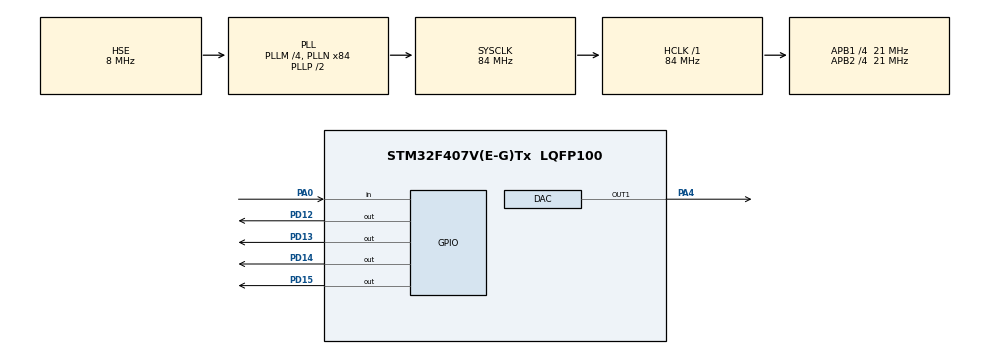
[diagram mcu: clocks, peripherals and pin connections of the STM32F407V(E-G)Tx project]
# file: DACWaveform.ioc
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DAC.DAC_Trigger=DAC_TRIGGER_T2_TRGO
Dma.DAC1.0.Direction=DMA_MEMORY_TO_PERIPH
Dma.DAC1.0.FIFOMode=DMA_FIFOMODE_DISABLE
Dma.DAC1.0.Instance=DMA1_Stream5
Dma.DAC1.0.MemDataAlignment=DMA_MDATAALIGN_WORD
Dma.DAC1.0.MemInc=DMA_MINC_ENABLE
Dma.DAC1.0.Mode=DMA_CIRCULAR
Dma.DAC1.0.PeriphDataAlignment=DMA_PDATAALIGN_WORD
Dma.DAC1.0.PeriphInc=DMA_PINC_DISABLE
Dma.DAC1.0.Priority=DMA_PRIORITY_LOW
Dma.Request0=DAC1
Mcu.Family=STM32F4
Mcu.Name=STM32F407V(E-G)Tx
Mcu.Package=LQFP100
NVIC.DMA1_Stream5_IRQn=true\:0\:0\:false\:false\:true\:false\:true
NVIC.PriorityGroup=NVIC_PRIORITYGROUP_4
NVIC.TIM2_IRQn=true\:0\:0\:false\:false\:true\:true\:true
PA0-WKUP.Signal=GPIO_Input
PA4.Signal=COMP_DAC1_group
PD12.Signal=GPIO_Output
PD13.Signal=GPIO_Output
PD14.Signal=GPIO_Output
PD15.Signal=GPIO_Output
PH0-OSC_IN.Mode=HSE-External-Oscillator
PH0-OSC_IN.Signal=RCC_OSC_IN
PH1-OSC_OUT.Mode=HSE-External-Oscillator
PH1-OSC_OUT.Signal=RCC_OSC_OUT
ProjectManager.HeapSize=0x200
ProjectManager.StackSize=0x400
ProjectManager.TargetToolchain=STM32CubeIDE
RCC.48MHZClocksFreq_Value=42000000
RCC.AHBFreq_Value=84000000
RCC.APB1CLKDivider=RCC_HCLK_DIV4
RCC.APB1Freq_Value=21000000
RCC.APB1TimFreq_Value=42000000
RCC.APB2CLKDivider=RCC_HCLK_DIV4
RCC.APB2Freq_Value=21000000
RCC.APB2TimFreq_Value=42000000
RCC.CortexFreq_Value=84000000
RCC.HCLKFreq_Value=84000000
RCC.HSE_VALUE=8000000
RCC.HSI_VALUE=16000000
RCC.LSE_VALUE=32768
RCC.PLLM=4
RCC.PLLN=84
RCC.PLLSourceVirtual=RCC_PLLSOURCE_HSE
RCC.SYSCLKFreq_VALUE=84000000
RCC.SYSCLKSource=RCC_SYSCLKSOURCE_PLLCLK
RCC.VCOOutputFreq_Value=168000000
SH.COMP_DAC1_group.0=DAC_OUT1,DAC_OUT1
TIM2.Period=100-1
TIM2.Prescaler=42-1
TIM2.TIM_MasterOutputTrigger=TIM_TRGO_UPDATE
VP_TIM2_VS_ClockSourceINT.Mode=Internal
board=custom

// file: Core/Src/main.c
/* USER CODE BEGIN Header */
/**
  ******************************************************************************
  * @file           : main.c
  * @brief          : Main program body
  ******************************************************************************
  * @attention
  *
  * <h2><center>&copy; Copyright (c) 2021 STMicroelectronics.
  * All rights reserved.</center></h2>
  *
  * This software component is licensed by ST under BSD 3-Clause license,
  * the "License"; You may not use this file except in compliance with the
  * License. You may obtain a copy of the License at:
  *                        opensource.org/licenses/BSD-3-Clause
  *
  ******************************************************************************
  */
/* USER CODE END Header */
#include "main.h"

/* USER CODE BEGIN Includes */
#include "math.h"
#include "stdlib.h"
/* USER CODE END Includes */

/* USER CODE BEGIN PD */
#define N 400

#define pi 3.141592f
/* USER CODE END PD */

DAC_HandleTypeDef hdac;
DMA_HandleTypeDef hdma_dac1;

TIM_HandleTypeDef htim2;

/* USER CODE BEGIN PV */
uint32_t val[N];
uint32_t var;
uint32_t val_noise[N];
uint32_t sum_noise[N];
uint32_t conv[N];
float tmp[N];
float h[9] = {0.0241, 0.0717, 0.1283, 0.1759, 0.2000, 0.1759, 0.1283, 0.0717, 0.0241}; // coefficients of filter, which is generated by MATLAB
/* USER CODE END PV */

void SystemClock_Config(void);
static void MX_GPIO_Init(void);
static void MX_DMA_Init(void);
static void MX_DAC_Init(void);
static void MX_TIM2_Init(void);
/* USER CODE BEGIN PFP */
void sinval();
void noise();
void sum_signal();
void conv_signal();
int _write(int file, char *ptr, int len);

/* USER CODE END PFP */

int main(void)
{

  /* MCU Configuration--------------------------------------------------------*/

  /* Reset of all peripherals, Initializes the Flash interface and the Systick. */
  HAL_Init();

  /* Configure the system clock */
  SystemClock_Config();

  /* Initialize all configured peripherals */
  MX_GPIO_Init();
  MX_DMA_Init();
  MX_DAC_Init();
  MX_TIM2_Init();
  /* USER CODE BEGIN 2 */
  HAL_TIM_Base_Start(&htim2);

  //HAL_DACEx_TriangleWaveGenerate(&hdac, DAC_CHANNEL_1, DAC_TRIANGLEAMPLITUDE_2047);
  sinval();
  noise();
  sum_signal();
  conv_signal();
  HAL_DAC_Start_DMA(&hdac, DAC_CHANNEL_1, conv ,N, DAC_ALIGN_12B_R); //Transmit digital signal through DMA to PA4(Analog Port)

  //HAL_DAC_SetValue(&hdac, DAC_CHANNEL_1, DAC_ALIGN_12B_R, 1000);
  /* USER CODE END 2 */

  /* Infinite loop */
  while (1)
  {

  }
}

void SystemClock_Config(void)
{
  RCC_OscInitTypeDef RCC_OscInitStruct = {0};
  RCC_ClkInitTypeDef RCC_ClkInitStruct = {0};

  /** Configure the main internal regulator output voltage
  */
  __HAL_RCC_PWR_CLK_ENABLE();
  __HAL_PWR_VOLTAGESCALING_CONFIG(PWR_REGULATOR_VOLTAGE_SCALE1);
  /** Initializes the RCC Oscillators according to the specified parameters
  * in the RCC_OscInitTypeDef structure.
  */
  RCC_OscInitStruct.OscillatorType = RCC_OSCILLATORTYPE_HSE;
  RCC_OscInitStruct.HSEState = RCC_HSE_ON;
  RCC_OscInitStruct.PLL.PLLState = RCC_PLL_ON;
  RCC_OscInitStruct.PLL.PLLSource = RCC_PLLSOURCE_HSE;
  RCC_OscInitStruct.PLL.PLLM = 4;
  RCC_OscInitStruct.PLL.PLLN = 84;
  RCC_OscInitStruct.PLL.PLLP = RCC_PLLP_DIV2;
  RCC_OscInitStruct.PLL.PLLQ = 4;
  if (HAL_RCC_OscConfig(&RCC_OscInitStruct) != HAL_OK)
  {
    Error_Handler();
  }
  /** Initializes the CPU, AHB and APB buses clocks
  */
  RCC_ClkInitStruct.ClockType = RCC_CLOCKTYPE_HCLK|RCC_CLOCKTYPE_SYSCLK
                              |RCC_CLOCKTYPE_PCLK1|RCC_CLOCKTYPE_PCLK2;
  RCC_ClkInitStruct.SYSCLKSource = RCC_SYSCLKSOURCE_PLLCLK;
  RCC_ClkInitStruct.AHBCLKDivider = RCC_SYSCLK_DIV1;
  RCC_ClkInitStruct.APB1CLKDivider = RCC_HCLK_DIV4;
  RCC_ClkInitStruct.APB2CLKDivider = RCC_HCLK_DIV4;

  if (HAL_RCC_ClockConfig(&RCC_ClkInitStruct, FLASH_LATENCY_2) != HAL_OK)
  {
    Error_Handler();
  }
}

static void MX_DAC_Init(void)
{

  DAC_ChannelConfTypeDef sConfig = {0};

  /** DAC Initialization
  */
  hdac.Instance = DAC;
  if (HAL_DAC_Init(&hdac) != HAL_OK)
  {
    Error_Handler();
  }
  /** DAC channel OUT1 config
  */
  sConfig.DAC_Trigger = DAC_TRIGGER_T2_TRGO;
  sConfig.DAC_OutputBuffer = DAC_OUTPUTBUFFER_ENABLE;
  if (HAL_DAC_ConfigChannel(&hdac, &sConfig, DAC_CHANNEL_1) != HAL_OK)
  {
    Error_Handler();
  }

}

static void MX_TIM2_Init(void)
{

  TIM_ClockConfigTypeDef sClockSourceConfig = {0};
  TIM_MasterConfigTypeDef sMasterConfig = {0};

  htim2.Instance = TIM2;
  htim2.Init.Prescaler = 42-1;
  htim2.Init.CounterMode = TIM_COUNTERMODE_UP;
  htim2.Init.Period = 100-1;
  htim2.Init.ClockDivision = TIM_CLOCKDIVISION_DIV1;
  htim2.Init.AutoReloadPreload = TIM_AUTORELOAD_PRELOAD_DISABLE;
  if (HAL_TIM_Base_Init(&htim2) != HAL_OK)
  {
    Error_Handler();
  }
  sClockSourceConfig.ClockSource = TIM_CLOCKSOURCE_INTERNAL;
  if (HAL_TIM_ConfigClockSource(&htim2, &sClockSourceConfig) != HAL_OK)
  {
    Error_Handler();
  }
  sMasterConfig.MasterOutputTrigger = TIM_TRGO_UPDATE;
  sMasterConfig.MasterSlaveMode = TIM_MASTERSLAVEMODE_DISABLE;
  if (HAL_TIMEx_MasterConfigSynchronization(&htim2, &sMasterConfig) != HAL_OK)
  {
    Error_Handler();
  }

}

static void MX_DMA_Init(void)
{

  /* DMA controller clock enable */
  __HAL_RCC_DMA1_CLK_ENABLE();

  /* DMA interrupt init */
  /* DMA1_Stream5_IRQn interrupt configuration */
  HAL_NVIC_SetPriority(DMA1_Stream5_IRQn, 0, 0);
  HAL_NVIC_EnableIRQ(DMA1_Stream5_IRQn);

}

static void MX_GPIO_Init(void)
{
  GPIO_InitTypeDef GPIO_InitStruct = {0};

  /* GPIO Ports Clock Enable */
  __HAL_RCC_GPIOH_CLK_ENABLE();
  __HAL_RCC_GPIOA_CLK_ENABLE();
  __HAL_RCC_GPIOD_CLK_ENABLE();

  /*Configure GPIO pin Output Level */
  HAL_GPIO_WritePin(GPIOD, GPIO_PIN_12|GPIO_PIN_13|GPIO_PIN_14|GPIO_PIN_15, GPIO_PIN_RESET);

  /*Configure GPIO pin : PA0 */
  GPIO_InitStruct.Pin = GPIO_PIN_0;
  GPIO_InitStruct.Mode = GPIO_MODE_INPUT;
  GPIO_InitStruct.Pull = GPIO_NOPULL;
  HAL_GPIO_Init(GPIOA, &GPIO_InitStruct);

  /*Configure GPIO pins : PD12 PD13 PD14 PD15 */
  GPIO_InitStruct.Pin = GPIO_PIN_12|GPIO_PIN_13|GPIO_PIN_14|GPIO_PIN_15;
  GPIO_InitStruct.Mode = GPIO_MODE_OUTPUT_PP;
  GPIO_InitStruct.Pull = GPIO_NOPULL;
  GPIO_InitStruct.Speed = GPIO_SPEED_FREQ_LOW;
  HAL_GPIO_Init(GPIOD, &GPIO_InitStruct);

}

/* USER CODE BEGIN 4 */
/////////////////////
void sum_signal() //Generating Sinewave with noise ==> signal before filtering
{
	for(int i = 0; i < N; i++)
		{
			sum_noise[i] = val_noise[i] + val[i];
			//printf("%d\n", sum_noise[i]);
		}

}

void noise()  //Noise generation
{
	for(int i = 0; i < N; i++)
			val_noise[i] = (rand() % 5)*((0xFF+1)/2);

}

void sinval() //Sinewave generation
{
	for(int i = 0; i < N; i++)
		val[i] = ((sin(i*pi*2/N)+1)*((0xFFF+1)/2));

}

void conv_signal() //Convolution SineWave-noise with impulse response ==> signal after filtering
{
	for(int i =0; i < N; i++)
		{
			for(int j =0 ; j < 9; j++)
				tmp[i] = tmp[i] + h[j]*(float)sum_noise[i-j];
			conv[i] = (uint32_t)tmp[i];
			printf("%d\n", conv[i]);
		}
}

int _write(int file, char *ptr, int len)
{
  /* Implement your write code here, this is used by puts and printf for example */
  int i=0;
  for(i=0 ; i<len ; i++)
    ITM_SendChar((*ptr++));
  return len;
}
/* USER CODE END 4 */

void Error_Handler(void)
{
  __disable_irq();
  while (1)
  {
  }
}

/************************ (C) COPYRIGHT STMicroelectronics *****END OF FILE****/
